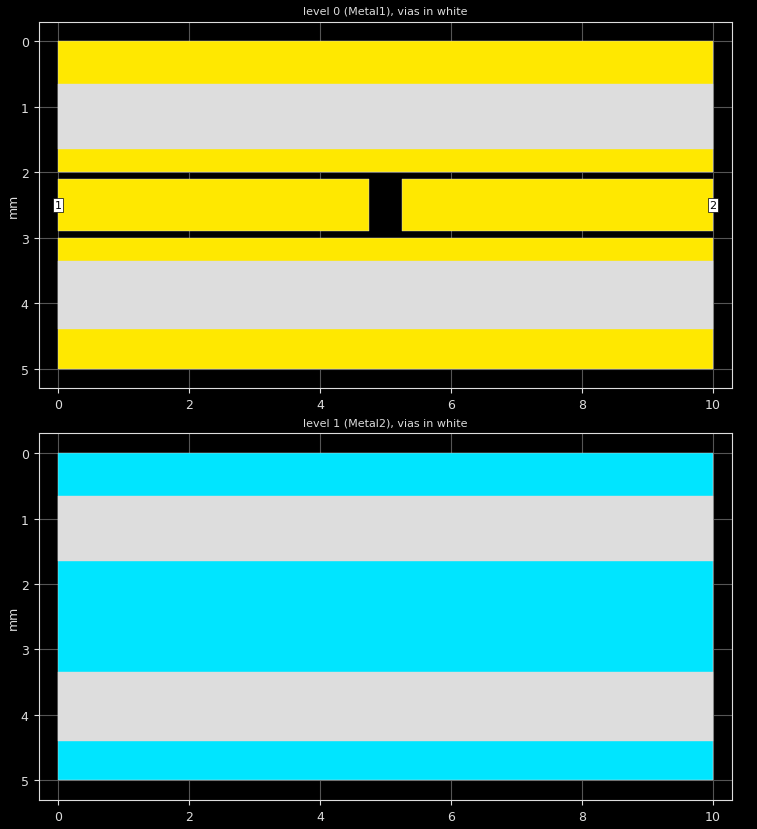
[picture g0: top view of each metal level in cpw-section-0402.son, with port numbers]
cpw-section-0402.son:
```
FTYP SONPROJ 17 ! Sonnet Project File
VER 17.52.2
HEADER
LIC antikernel2.1.48685 90e2ba8817c0 havequick azonenberg
DAT 04/27/2020 08:38:28
BUILT_BY_CREATED xgeom 16.56 07/03/2018 15:05:41
BUILT_BY_SAVED sonnet 17.52.2
MDATE 04/27/2020 08:38:28
HDATE 04/27/2020 08:38:28
END HEADER
DIM
ANG DEG
CAP PF
CON /OH
FREQ GHZ
IND NH
LNG MM
RES OH
END DIM
CONTROL
VARSWP
OPTIONS  -dj
SPEED 0
CACHE_ABS 1
Q_ACC N
END CONTROL
GEO
SYM
TMET "Free Space" 0 FREESPACE 376.7303136 0 0 0
BMET "Free Space" 0 FREESPACE 376.7303136 0 0 0
MET "Silver" 1 TMM 61700000 0.5 0.035 3
BOX 2 10 5 160 400 20 0
      1 1 1 0 0 0 0 "Air"
      1.5 3.5 1 0.0037 0 0 0 "Rogers RO4350B"
      1 1 1 0 0 0 0 "Substrate"
TECHLAY METAL Metal1 <UNSPECIFIED> -2 0 
0 0 0 N 0 1 1 100 100 0 0 0 Y
END
END
TECHLAY METAL Metal2 <UNSPECIFIED> -3 0 
1 0 -1 N 0 1 1 100 100 0 0 0 Y
END
END
VALVAR WIDTH LNG 0.8 "Dim. Param."
VALVAR TOPSPACE LNG 0.1 "Dim. Param."
VALVAR BOTSPACE LNG 0.1 "Dim. Param."
DIM STD XDIR 1
POS 0.6544601443 0.02429647291
NOM 0.5
REF1 POLY 10 1
1
REF2 POLY 31 1
0
END
LORGN 0 250 U 
POR1 BOX
POLY 10 1
3
1 50 0 0 0 0 2.5 
POR1 BOX
POLY 31 1
1
2 50 0 0 0 10 2.5 
NUM 7
0 5 0 N 10 1 1 100 100 0 0 0 Y
TLAYNAM Metal1 INH
0 2.1
4.75 2.1
4.75 2.9
0 2.9
0 2.1
END
0 5 0 N 13 1 1 100 100 0 0 0 Y
TLAYNAM Metal1 INH
0 0
10 0
10 2
0 2
0 0
END
0 5 0 N 14 1 1 100 100 0 0 0 Y
TLAYNAM Metal1 INH
0 3
10 3
10 5
0 5
0 3
END
0 5 0 N 31 1 1 100 100 0 0 0 Y
TLAYNAM Metal1 INH
5.25 2.1
10 2.1
10 2.9
5.25 2.9
5.25 2.1
END
VIA POLYGON
0 5 -1 N 15 1 1 100 100 0 0 0 Y
TOLEVEL 1 RING NOCOVERS
0 0.65
10 0.65
10 1.65
0 1.65
0 0.65
END
VIA POLYGON
0 5 -1 N 16 1 1 100 100 0 0 0 Y
TOLEVEL 1 RING NOCOVERS
0 3.35
10 3.35
10 4.4
0 4.4
0 3.35
END
1 5 -1 N 19 1 1 100 100 0 0 0 Y
TLAYNAM Metal2 INH
0 0
10 0
10 5
0 5
0 0
END
END GEO
OPT
MAX 100
END OPT
VARSWP
SWPVARS ON
ENABLED Y
FREQ Y AY ABS_ENTRY 0.1 10.0 -1 300 
VAR WIDTH Y 0.725 0.875 0.025
VAR TOPSPACE N 0.1 0.1 UNDEF
VAR BOTSPACE N 0.1 0.1 UNDEF
END
END VARSWP
FILEOUT
FOLDER .
END FILEOUT
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```
